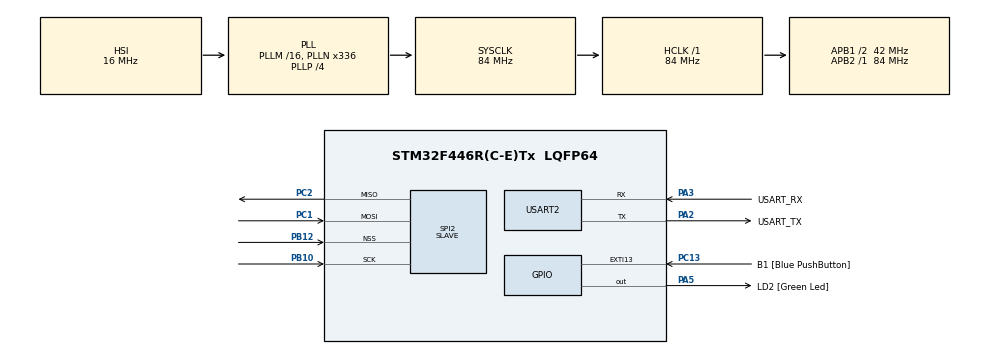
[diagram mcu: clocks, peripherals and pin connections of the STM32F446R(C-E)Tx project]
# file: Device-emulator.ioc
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Mcu.Family=STM32F4
Mcu.Name=STM32F446R(C-E)Tx
Mcu.Package=LQFP64
NVIC.PriorityGroup=NVIC_PRIORITYGROUP_0
NVIC.SPI2_IRQn=true\:0\:0\:false\:false\:true\:true\:true\:true
PA13.GPIO_Label=TMS
PA13.Mode=Serial_Wire
PA13.Signal=SYS_JTMS-SWDIO
PA14.GPIO_Label=TCK
PA14.Mode=Serial_Wire
PA14.Signal=SYS_JTCK-SWCLK
PA2.GPIO_Label=USART_TX
PA2.Mode=Asynchronous
PA2.Signal=USART2_TX
PA3.GPIO_Label=USART_RX
PA3.Mode=Asynchronous
PA3.Signal=USART2_RX
PA5.GPIO_Label=LD2 [Green Led]
PA5.Signal=GPIO_Output
PB10.Mode=Full_Duplex_Slave
PB10.Signal=SPI2_SCK
PB12.Mode=NSS_Signal_Hard_Input
PB12.Signal=SPI2_NSS
PB3.GPIO_Label=SWO
PB3.Signal=SYS_JTDO-SWO
PC1.Mode=Full_Duplex_Slave
PC1.Signal=SPI2_MOSI
PC13.GPIO_Label=B1 [Blue PushButton]
PC13.GPIO_ModeDefaultEXTI=GPIO_MODE_IT_FALLING
PC13.Signal=GPXTI13
PC14-OSC32_IN.Mode=LSE-External-Oscillator
PC14-OSC32_IN.Signal=RCC_OSC32_IN
PC15-OSC32_OUT.Mode=LSE-External-Oscillator
PC15-OSC32_OUT.Signal=RCC_OSC32_OUT
PC2.Mode=Full_Duplex_Slave
PC2.Signal=SPI2_MISO
PH0-OSC_IN.Mode=HSE-External-Oscillator
PH0-OSC_IN.Signal=RCC_OSC_IN
PH1-OSC_OUT.Mode=HSE-External-Oscillator
PH1-OSC_OUT.Signal=RCC_OSC_OUT
ProjectManager.HeapSize=0x200
ProjectManager.StackSize=0x400
ProjectManager.TargetToolchain=CMake
RCC.48MHZClocksFreq_Value=84000000
RCC.AHBFreq_Value=84000000
RCC.APB1CLKDivider=RCC_HCLK_DIV2
RCC.APB1Freq_Value=42000000
RCC.APB1TimFreq_Value=84000000
RCC.APB2Freq_Value=84000000
RCC.APB2TimFreq_Value=84000000
RCC.CortexFreq_Value=84000000
RCC.FLatency-AdvancedSettings=FLASH_LATENCY_2
RCC.HCLKFreq_Value=84000000
RCC.HSE_VALUE=8000000
RCC.HSI_VALUE=16000000
RCC.PLLN=336
RCC.PLLP=RCC_PLLP_DIV4
RCC.SYSCLKFreq_VALUE=84000000
RCC.SYSCLKSource=RCC_SYSCLKSOURCE_PLLCLK
RCC.USBFreq_Value=168000000
RCC.VCOOutputFreq_Value=336000000
SPI2.CLKPhase=SPI_PHASE_2EDGE
SPI2.Direction=SPI_DIRECTION_2LINES
SPI2.Mode=SPI_MODE_SLAVE
SPI2.VirtualNSS=VM_NSSHARD
SPI2.VirtualType=VM_SLAVE
USART2.VirtualMode=VM_ASYNC
board=NUCLEO-F446RE

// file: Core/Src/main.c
/* USER CODE BEGIN Header */
/**
 ******************************************************************************
 * @file           : main.c
 * @brief          : Main program body
 ******************************************************************************
 * @attention
 *
 * Copyright (c) 2026 STMicroelectronics.
 * All rights reserved.
 *
 * This software is licensed under terms that can be found in the LICENSE file
 * in the root directory of this software component.
 * If no LICENSE file comes with this software, it is provided AS-IS.
 *
 ******************************************************************************
 */
/* USER CODE END Header */
#include "main.h"

#include "gpio.h"
#include "spi.h"
#include "usart.h"

/* USER CODE BEGIN Includes */
#include <stdio.h>

#include "ads1261_emulator.h"

/* USER CODE END Includes */

/* USER CODE BEGIN PD */
#define ADS1261_STRICT_MODE 1
#define ADS1261_DRDY_DELAY_TICKS 0u

/* USER CODE END PD */

/* USER CODE BEGIN PV */
ADS1261_Emulator_t hads1261_emu;
static uint32_t emu_last_tick_ms = 0u;

/* USER CODE END PV */

void SystemClock_Config(void);

/* USER CODE BEGIN 0 */
int __io_putchar(int ch) {
  uint8_t c = (uint8_t)ch;
  (void)HAL_UART_Transmit(&huart2, &c, 1, 10);
  return ch;
}

static const char *ads_cmd_name(uint8_t rx) {
  if (rx == 0x06u) {
    return "RESET";
  }
  if (rx == 0x08u) {
    return "START";
  }
  if (rx == 0x0Au) {
    return "STOP";
  }
  if (rx == 0x12u) {
    return "RDATA";
  }
  if ((rx & 0xE0u) == 0x20u) {
    return "RREG";
  }
  if ((rx & 0xE0u) == 0x40u) {
    return "WREG";
  }
  return "DATA/NOP";
}

/* USER CODE END 0 */

int main(void) {

  /* MCU Configuration--------------------------------------------------------*/

  /* Reset of all peripherals, Initializes the Flash interface and the Systick.
   */
  HAL_Init();

  /* Configure the system clock */
  SystemClock_Config();

  /* Initialize all configured peripherals */
  MX_GPIO_Init();
  MX_USART2_UART_Init();
  MX_SPI2_Init();
  /* USER CODE BEGIN 2 */
  ADS1261_Emulator_Init(&hads1261_emu, &hspi2);
  ADS1261_Emulator_SetStrictMode(&hads1261_emu, ADS1261_STRICT_MODE != 0);
  ADS1261_Emulator_SetDRDYDelayTicks(&hads1261_emu, ADS1261_DRDY_DELAY_TICKS);

  // Simuler une valeur ADC (ex: mi-pleine échelle positive)
  ADS1261_Emulator_SetADCValue(&hads1261_emu, 0x400000);

  printf("\r\n[BOOT] ADS1261 emulator start\r\n");
  printf("[TRACE] Real-time SPI RX enabled\r\n");
  emu_last_tick_ms = HAL_GetTick();
  /* USER CODE END 2 */

  /* Infinite loop */
  while (1) {

    /* USER CODE BEGIN 3 */
    uint32_t now = HAL_GetTick();
    uint32_t elapsed = now - emu_last_tick_ms;
    if (elapsed > 0u) {
      // Catch up missed ticks even when UART trace output is busy.
      if (elapsed > 100u) {
        elapsed = 100u;
      }
      for (uint32_t i = 0u; i < elapsed; i++) {
        ADS1261_Emulator_Tick(&hads1261_emu);
      }
      emu_last_tick_ms = now;
    }

    ADS1261_Emulator_Trace_t t;
    while (ADS1261_Emulator_PopTrace(&hads1261_emu, &t)) {
      printf("[SPI] #%lu rx=0x%02X (%s) tx=0x%02X st:%u->%u", t.seq, t.rx,
             ads_cmd_name(t.rx), t.tx, t.state_before, t.state_after);
      if ((t.warn_flags & ADS1261_EMU_TRACE_WARN_UNSUPPORTED_FEATURE) != 0u) {
        printf(" WARN:MODE3_STATUS_CRC=0x%02X", t.aux);
      }
      if ((t.warn_flags & ADS1261_EMU_TRACE_WARN_DRDY_NOT_READY) != 0u) {
        printf(" WARN:DRDY_NOT_READY");
      }
      printf("\r\n");
    }
  }
  /* USER CODE END 3 */
}

void SystemClock_Config(void) {
  RCC_OscInitTypeDef RCC_OscInitStruct = {0};
  RCC_ClkInitTypeDef RCC_ClkInitStruct = {0};

  /** Configure the main internal regulator output voltage
   */
  __HAL_RCC_PWR_CLK_ENABLE();
  __HAL_PWR_VOLTAGESCALING_CONFIG(PWR_REGULATOR_VOLTAGE_SCALE3);

  /** Initializes the RCC Oscillators according to the specified parameters
   * in the RCC_OscInitTypeDef structure.
   */
  RCC_OscInitStruct.OscillatorType = RCC_OSCILLATORTYPE_HSI;
  RCC_OscInitStruct.HSIState = RCC_HSI_ON;
  RCC_OscInitStruct.HSICalibrationValue = RCC_HSICALIBRATION_DEFAULT;
  RCC_OscInitStruct.PLL.PLLState = RCC_PLL_ON;
  RCC_OscInitStruct.PLL.PLLSource = RCC_PLLSOURCE_HSI;
  RCC_OscInitStruct.PLL.PLLM = 16;
  RCC_OscInitStruct.PLL.PLLN = 336;
  RCC_OscInitStruct.PLL.PLLP = RCC_PLLP_DIV4;
  RCC_OscInitStruct.PLL.PLLQ = 2;
  RCC_OscInitStruct.PLL.PLLR = 2;
  if (HAL_RCC_OscConfig(&RCC_OscInitStruct) != HAL_OK) {
    Error_Handler();
  }

  /** Initializes the CPU, AHB and APB buses clocks
   */
  RCC_ClkInitStruct.ClockType = RCC_CLOCKTYPE_HCLK | RCC_CLOCKTYPE_SYSCLK |
                                RCC_CLOCKTYPE_PCLK1 | RCC_CLOCKTYPE_PCLK2;
  RCC_ClkInitStruct.SYSCLKSource = RCC_SYSCLKSOURCE_PLLCLK;
  RCC_ClkInitStruct.AHBCLKDivider = RCC_SYSCLK_DIV1;
  RCC_ClkInitStruct.APB1CLKDivider = RCC_HCLK_DIV2;
  RCC_ClkInitStruct.APB2CLKDivider = RCC_HCLK_DIV1;

  if (HAL_RCC_ClockConfig(&RCC_ClkInitStruct, FLASH_LATENCY_2) != HAL_OK) {
    Error_Handler();
  }
}

void Error_Handler(void) {
  __disable_irq();
  while (1) {
  }
}
#ifdef USE_FULL_ASSERT
/**
 * @brief  Reports the name of the source file and the source line number
 *         where the assert_param error has occurred.
 * @param  file: pointer to the source file name
 * @param  line: assert_param error line source number
 * @retval None
 */
void assert_failed(uint8_t *file, uint32_t line) {
  /* USER CODE BEGIN 6 */
  /* User can add his own implementation to report the file name and line
     number,
     ex: printf("Wrong parameters value: file %s on line %d\r\n", file, line) */
  /* USER CODE END 6 */
}
#endif /* USE_FULL_ASSERT */
